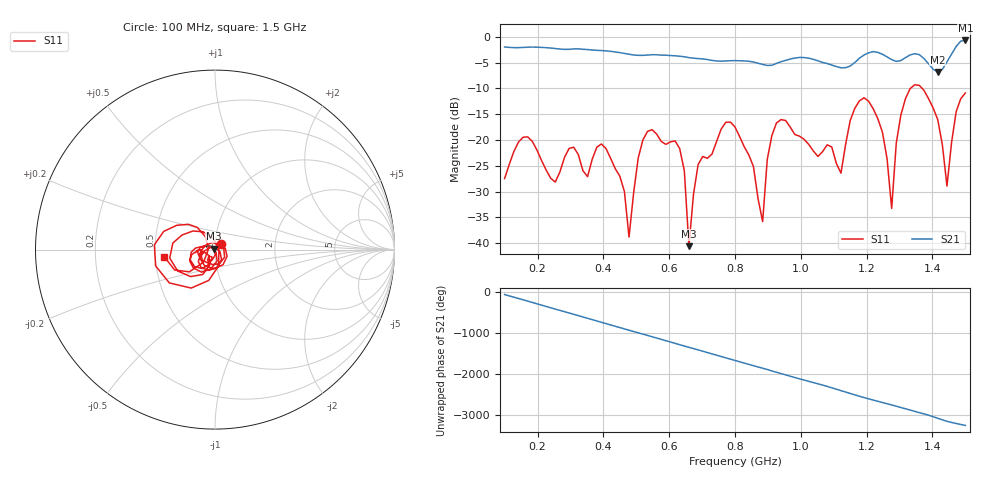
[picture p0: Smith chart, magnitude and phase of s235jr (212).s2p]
! NanoVNA-App
! Date: 2025-09-25 15:05:49
! Start: 100MHz Stop: 1,5GHz Points: 101
! S-Parameter data: F S11 S21 S12 S22
# Hz S RI R 50
!  Frequency  S11_Real  S11_Imag  S21_Real  S21_Imag  S12_Real  S12_Imag  S22_Real  S22_Imag
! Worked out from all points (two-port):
!   101 points, 100 MHz to 1.5 GHz, reference 50 ohm
!   highest |S21| = -0.69 dB at 1.5 GHz (marker M1); lowest = -6.8 dB at 1.416 GHz (marker M2)
!   |S21| within 3 dB of the highest: start of sweep to 622.3 MHz; 1.188 GHz to 1.257 GHz (68.89 MHz wide, 5.64 % of centre) (the widest 2 of 4)
!   lowest |S11| = -40.6 dB at 660 MHz (marker M3), VSWR 1.02, Z = 49.2 + j0.545 ohm
!   |S11| at or under -10 dB: start of sweep to 1.333 GHz; 1.369 GHz to end of sweep
!   S12 and S22 are empty: the file has one direction only
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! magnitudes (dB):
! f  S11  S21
! 100 MHz  -27.5  -2.0
! 156 MHz  -19.5  -2.0
! 338 MHz  -25.9  -2.4
! 408 MHz  -21.6  -2.7
! 478 MHz  -38.8  -3.4
! 520 MHz  -20.0  -3.6
! 576 MHz  -20.3  -3.5
! 632 MHz  -21.7  -3.8
! 660 MHz  -40.6  -4.0
! 688 MHz  -24.7  -4.2
! 800 MHz  -17.5  -4.6
! 884 MHz  -35.8  -5.3
! 926 MHz  -16.7  -5.1
! 1.038 GHz  -22.1  -4.3
! 1.122 GHz  -26.4  -6.0
! 1.192 GHz  -11.8  -3.5
! 1.248 GHz  -18.5  -3.4
! 1.276 GHz  -33.3  -4.4
! 1.332 GHz  -10.0  -3.5
! 1.416 GHz  -16.0  -6.8
! 1.444 GHz  -28.9  -4.8
! 1.5 GHz  -10.9  -0.7
